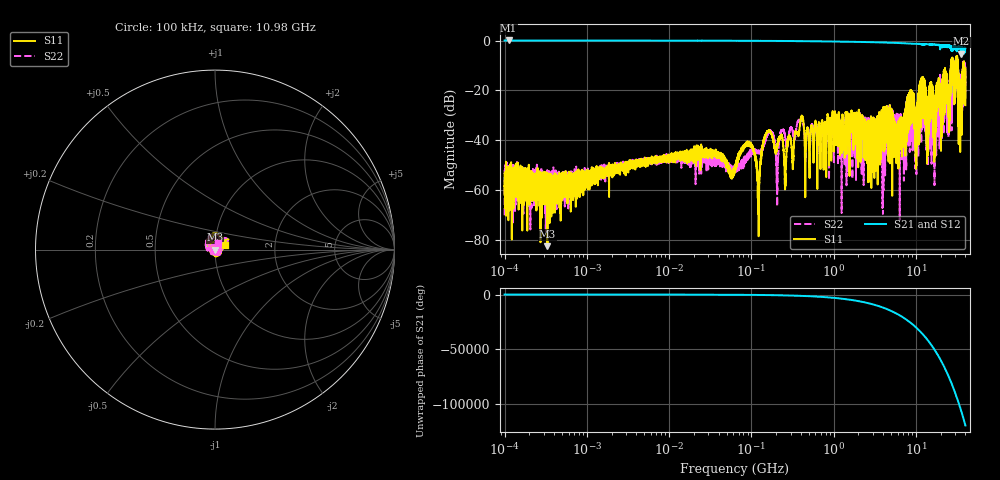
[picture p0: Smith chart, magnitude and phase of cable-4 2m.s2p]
#  HZ  S  RI  R  50.00
! Rohde & Schwarz Vector Network Analyzer
! Rohde-Schwarz,ZNB40-4Port,1311601084101740,3.32
! Created: UTC 3/2/2022, 12:40:09 PM
! freq[Hz]  re:S11  im:S11  re:S21  im:S21  re:S12  im:S12  re:S22  im:S22
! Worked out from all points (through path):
!   10001 points, 100 kHz to 40 GHz, reference 50 ohm
!   highest |S21| = 0.02 dB at 111.9 kHz (marker M1); lowest = -5.3 dB at 35.62 GHz (marker M2)
!   lowest |S11| = -82.5 dB at 331.9 kHz (marker M3), VSWR 1.00, Z = 50 + j0.000868 ohm
!   |S11| at or under -10 dB: start of sweep to 26.64 GHz; 32.3 GHz to 37.58 GHz (5.283 GHz wide, 15.1 % of centre); 38.58 GHz to end of sweep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
!   |S22| runs from -76.7 to -6.3 dB; largest |S21 - S12| = 0.041
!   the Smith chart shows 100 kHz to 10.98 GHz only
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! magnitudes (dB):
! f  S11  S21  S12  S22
! 100 kHz  -58.3  0.0  0.0  -70.1
! 111.9 kHz  -59.8  0.0  0.0  -51.5
! 331.9 kHz  -82.5  0.0  0.0  -61.5
! 858.7 kHz  -56.4  0.0  0.0  -54.8
! 7.374 MHz  -47.1  0.0  0.0  -48.5
! 63.33 MHz  -51.0  -0.1  -0.1  -51.6
! 94.83 MHz  -41.8  -0.1  -0.1  -46.1
! 122.7 MHz  -72.4  -0.1  -0.1  -45.0
! 160.5 MHz  -36.2  -0.2  -0.1  -36.7
! 203.8 MHz  -44.3  -0.2  -0.2  -56.7
! 236.7 MHz  -38.2  -0.2  -0.2  -36.1
! 259.4 MHz  -58.4  -0.2  -0.2  -39.5
! 410 MHz  -30.3  -0.3  -0.2  -31.9
! 543.1 MHz  -34.4  -0.3  -0.3  -33.5
! 4.664 GHz  -37.7  -0.9  -0.8  -40.0
! 8.809 GHz  -24.3  -1.3  -1.3  -28.1
! 10.17 GHz  -37.7  -1.3  -1.3  -44.9
! 11.96 GHz  -14.6  -1.5  -1.5  -15.6
! 16.85 GHz  -39.7  -1.6  -1.6  -35.3
! 28.75 GHz  -10.7  -2.8  -2.8  -13.1
! 35.62 GHz  -15.9  -5.3  -5.4  -25.0
! 40 GHz  -25.9  -2.9  -2.8  -18.2
